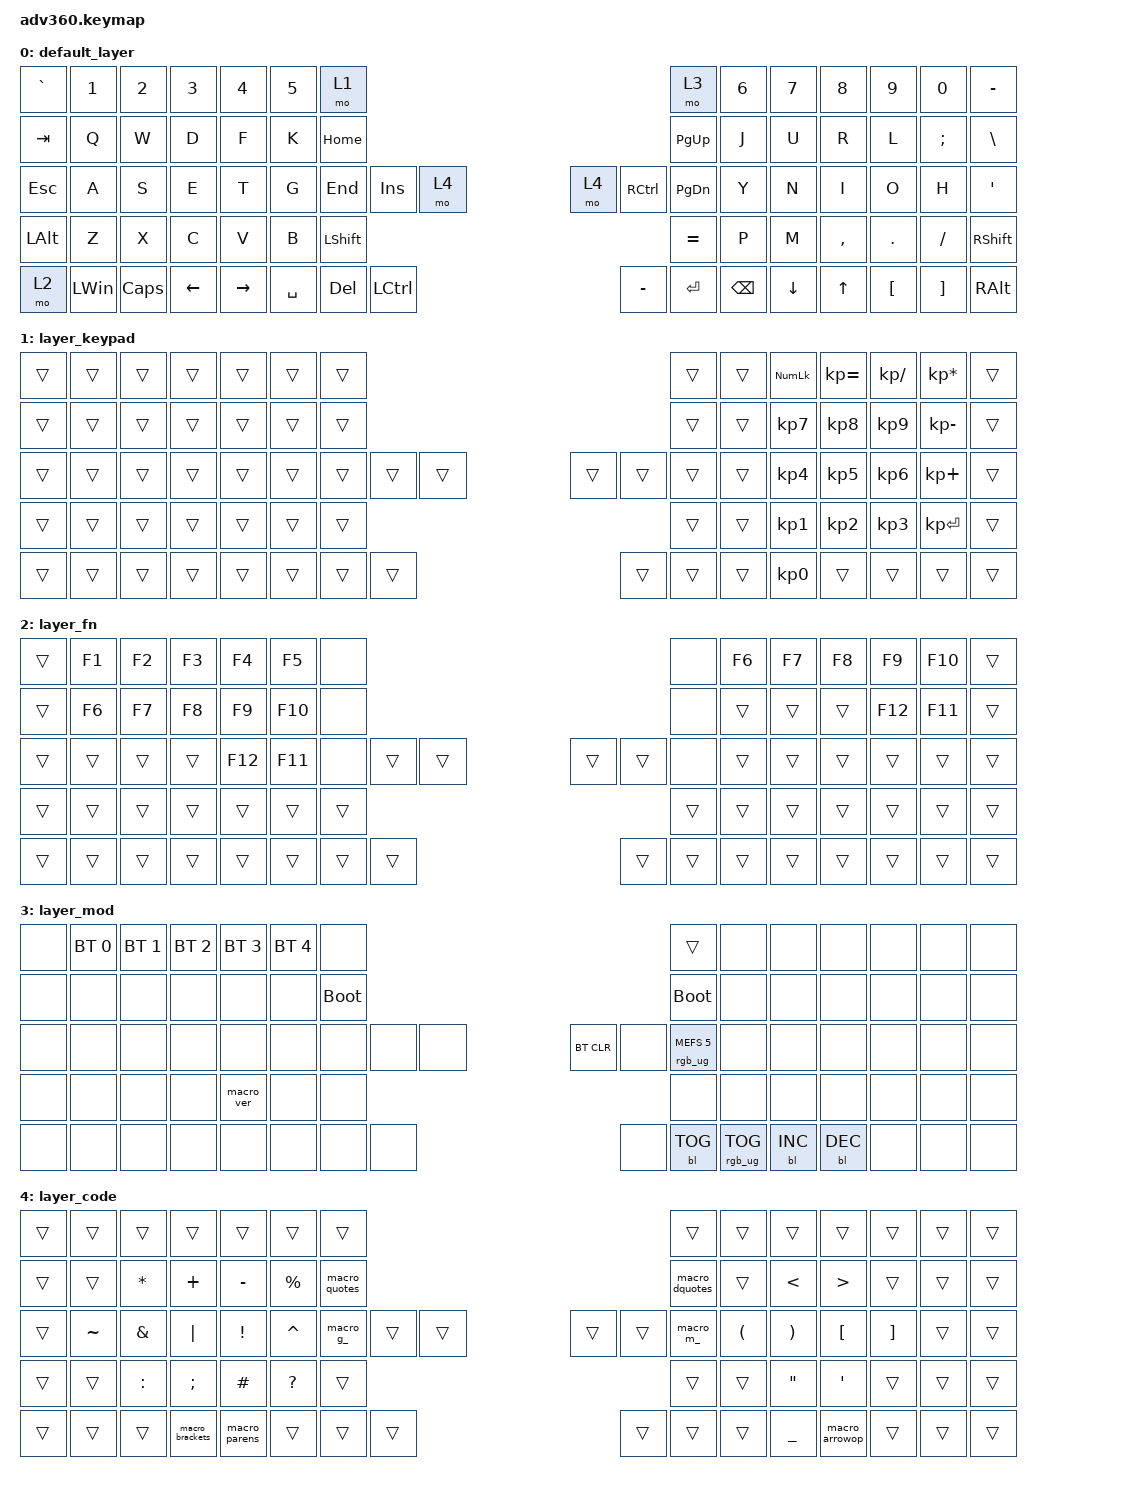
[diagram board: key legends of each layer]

/*
 * Copyright (c) 2020 The ZMK Contributors
 *
 * SPDX-License-Identifier: MIT
 */


/* THIS FILE WAS GENERATED!
 *
 * This file was generated automatically. You may or may not want to
 * edit it directly.
 */

#include <behaviors.dtsi>
#include <dt-bindings/zmk/keys.h>
#include <dt-bindings/zmk/bt.h>
#include <dt-bindings/zmk/rgb.h>
#include <dt-bindings/zmk/backlight.h>

/ {
  behaviors {
    #include "macros.dtsi"
    #include "version.dtsi"

    hm: homerow_mods {
        compatible = "zmk,behavior-hold-tap";
        label = "HOMEROW_MODS";
        #binding-cells = <2>;
        tapping-term-ms = <200>;
        quick_tap_ms = <175>;
        flavor = "tap-preferred";
        bindings = <&kp>, <&kp>;
    };
  };

    keymap {
        compatible = "zmk,keymap";


        default_layer {
            bindings = <
 &kp GRAVE        &kp N1    &kp N2    &kp N3     &kp N4  &kp N5               &mo 1                                                                        &mo 3  &kp N6    &kp N7     &kp N8    &kp N9    &kp N0  &kp MINUS
   &kp TAB         &kp Q     &kp W     &kp D      &kp F   &kp K               &kp HOME                                                                       &kp PG_UP    &kp J     &kp U      &kp R     &kp L  &kp SEMI   &kp BSLH
   &kp ESC         &kp A     &kp S     &kp E      &kp T   &kp G                &kp END  &kp INSERT         &mo 4                  &mo 4    &kp RCTRL    &kp PG_DN   &kp Y     &kp N      &kp I     &kp O     &kp H    &kp SQT
 &kp LEFT_ALT      &kp Z     &kp X     &kp C      &kp V   &kp B                                     &kp LSHFT                  &kp EQUAL                        &kp P     &kp M  &kp COMMA   &kp DOT  &kp FSLH  &kp RSHFT
     &mo 2  &kp LEFT_WIN  &kp CAPS  &kp LEFT  &kp RIGHT                    &kp SPACE   &kp DEL  &kp LEFT_CONTROL                  &kp MINUS  &kp ENTER  &kp BSPC          &kp DOWN     &kp UP  &kp LBKT  &kp RBKT      &kp RALT
            >;
        };

        layer_keypad {
            bindings = <
 &trans  &trans  &trans  &trans  &trans  &trans            &trans                                                  &trans  &trans  &kp KP_NUM  &kp KP_EQUAL  &kp KP_DIVIDE  &kp KP_MULTIPLY  &trans
 &trans  &trans  &trans  &trans  &trans  &trans            &trans                                                  &trans  &trans   &kp KP_N7     &kp KP_N8      &kp KP_N9     &kp KP_MINUS  &trans
 &trans  &trans  &trans  &trans  &trans  &trans            &trans  &trans  &trans                  &trans  &trans  &trans  &trans   &kp KP_N4     &kp KP_N5      &kp KP_N6      &kp KP_PLUS  &trans
 &trans  &trans  &trans  &trans  &trans  &trans                            &trans                  &trans                  &trans   &kp KP_N1     &kp KP_N2      &kp KP_N3     &kp KP_ENTER  &trans
 &trans  &trans  &trans  &trans  &trans                    &trans  &trans  &trans                  &trans  &trans  &trans           &kp KP_N0        &trans         &trans           &trans  &trans
            >;
        };

        layer_fn {
            bindings = <
 &trans  &kp F1  &kp F2  &kp F3   &kp F4   &kp F5             &none                                                   &none  &kp F6  &kp F7  &kp F8   &kp F9  &kp F10  &trans
 &trans  &kp F6  &kp F7  &kp F8   &kp F9  &kp F10             &none                                                   &none  &trans  &trans  &trans  &kp F12  &kp F11  &trans
 &trans  &trans  &trans  &trans  &kp F12  &kp F11             &none  &trans  &trans                  &trans  &trans   &none  &trans  &trans  &trans   &trans   &trans  &trans
 &trans  &trans  &trans  &trans   &trans   &trans                            &trans                  &trans                  &trans  &trans  &trans   &trans   &trans  &trans
 &trans  &trans  &trans  &trans   &trans                     &trans  &trans  &trans                  &trans  &trans  &trans          &trans  &trans   &trans   &trans  &trans
            >;
        };

        layer_mod {
            bindings = <
  &none  &bt BT_SEL 0  &bt BT_SEL 1  &bt BT_SEL 2  &bt BT_SEL 3  &bt BT_SEL 4                  &none                                                                          &trans   &none       &none       &none   &none   &none   &none
  &none         &none         &none         &none         &none         &none            &bootloader                                                                     &bootloader   &none       &none       &none   &none   &none   &none
  &none         &none         &none         &none         &none         &none                  &none   &none   &none                  &bt BT_CLR       &none  &rgb_ug RGB_MEFS_CMD 5   &none       &none       &none   &none   &none   &none
  &none         &none         &none         &none    &macro_ver         &none                                  &none                       &none                                       &none       &none       &none   &none   &none   &none
  &none         &none         &none         &none         &none                                &none   &none   &none                       &none  &bl BL_TOG         &rgb_ug RGB_TOG          &bl BL_INC  &bl BL_DEC   &none   &none   &none
            >;
        };

        layer_code {
            bindings = <
 &trans  &trans  &trans           &trans         &trans  &trans                    &trans                                                           &trans  &trans          &trans          &trans  &trans  &trans  &trans
 &trans  &trans  &kp STAR       &kp PLUS        &kp MINUS   &kp PERCENT            &macro_quotes                                                  &macro_dquotes         &trans          &kp LESS_THAN  &kp GREATER_THAN &trans  &trans  &trans
 &trans  &kp TILDE  &kp AMPERSAND &kp PIPE  &kp EXCLAMATION &kp CARET            &macro_g_  &trans  &trans                  &trans  &trans  &macro_m_  &kp LEFT_PARENTHESIS  &kp RIGHT_PARENTHESIS  &kp LEFT_BRACKET  &kp RIGHT_BRACKET  &trans  &trans
 &trans     &trans      &kp COLON  &kp SEMICOLON         &kp HASH  &kp QUESTION                            &trans                  &trans                                &trans      &kp DOUBLE_QUOTES  &kp SINGLE_QUOTE             &trans  &trans  &trans
 &trans  &trans  &trans  &macro_brackets  &macro_parens                                    &trans  &trans  &trans                  &trans  &trans  &trans          &kp UNDERSCORE  &macro_arrowop  &trans  &trans  &trans
            >;
        };

    };
};
